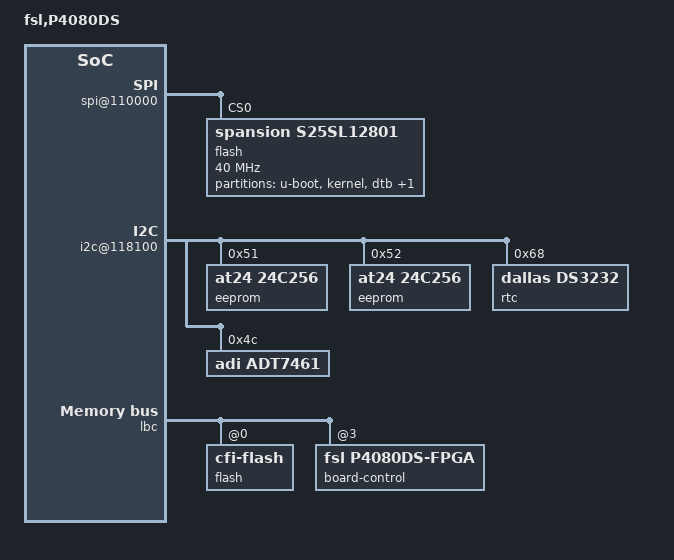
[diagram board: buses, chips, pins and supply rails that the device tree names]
/*
 * P4080DS Device Tree Source
 *
 * Copyright 2009 - 2014 Freescale Semiconductor Inc.
 *
 * Redistribution and use in source and binary forms, with or without
 * modification, are permitted provided that the following conditions are met:
 *     * Redistributions of source code must retain the above copyright
 *       notice, this list of conditions and the following disclaimer.
 *     * Redistributions in binary form must reproduce the above copyright
 *       notice, this list of conditions and the following disclaimer in the
 *       documentation and/or other materials provided with the distribution.
 *     * Neither the name of Freescale Semiconductor nor the
 *       names of its contributors may be used to endorse or promote products
 *       derived from this software without specific prior written permission.
 *
 *
 * ALTERNATIVELY, this software may be distributed under the terms of the
 * GNU General Public License ("GPL") as published by the Free Software
 * Foundation, either version 2 of that License or (at your option) any
 * later version.
 *
 * THIS SOFTWARE IS PROVIDED BY Freescale Semiconductor ``AS IS'' AND ANY
 * EXPRESS OR IMPLIED WARRANTIES, INCLUDING, BUT NOT LIMITED TO, THE IMPLIED
 * WARRANTIES OF MERCHANTABILITY AND FITNESS FOR A PARTICULAR PURPOSE ARE
 * DISCLAIMED. IN NO EVENT SHALL Freescale Semiconductor BE LIABLE FOR ANY
 * DIRECT, INDIRECT, INCIDENTAL, SPECIAL, EXEMPLARY, OR CONSEQUENTIAL DAMAGES
 * (INCLUDING, BUT NOT LIMITED TO, PROCUREMENT OF SUBSTITUTE GOODS OR SERVICES;
 * LOSS OF USE, DATA, OR PROFITS; OR BUSINESS INTERRUPTION) HOWEVER CAUSED AND
 * ON ANY THEORY OF LIABILITY, WHETHER IN CONTRACT, STRICT LIABILITY, OR TORT
 * (INCLUDING NEGLIGENCE OR OTHERWISE) ARISING IN ANY WAY OUT OF THE USE OF THIS
 * SOFTWARE, EVEN IF ADVISED OF THE POSSIBILITY OF SUCH DAMAGE.
 */

/include/ "fsl/p4080si-pre.dtsi"

/ {
	model = "fsl,P4080DS";
	compatible = "fsl,P4080DS";
	#address-cells = <2>;
	#size-cells = <2>;
	interrupt-parent = <&mpic>;

	memory {
		device_type = "memory";
	};

	reserved-memory {
		#address-cells = <2>;
		#size-cells = <2>;
		ranges;

		bman_fbpr: bman-fbpr {
			size = <0 0x1000000>;
			alignment = <0 0x1000000>;
		};
	};

	dcsr: dcsr@f00000000 {
		ranges = <0x00000000 0xf 0x00000000 0x01008000>;
	};

	bportals: bman-portals@ff4000000 {
		ranges = <0x0 0xf 0xf4000000 0x200000>;
	};

	soc: soc@ffe000000 {
		ranges = <0x00000000 0xf 0xfe000000 0x1000000>;
		reg = <0xf 0xfe000000 0 0x00001000>;

		spi@110000 {
			flash@0 {
				#address-cells = <1>;
				#size-cells = <1>;
				compatible = "spansion,s25sl12801";
				reg = <0>;
				spi-max-frequency = <40000000>; /* input clock */
				partition@u-boot {
					label = "u-boot";
					reg = <0x00000000 0x00100000>;
					read-only;
				};
				partition@kernel {
					label = "kernel";
					reg = <0x00100000 0x00500000>;
					read-only;
				};
				partition@dtb {
					label = "dtb";
					reg = <0x00600000 0x00100000>;
					read-only;
				};
				partition@fs {
					label = "file system";
					reg = <0x00700000 0x00900000>;
				};
			};
		};

		i2c@118100 {
			eeprom@51 {
				compatible = "at24,24c256";
				reg = <0x51>;
			};
			eeprom@52 {
				compatible = "at24,24c256";
				reg = <0x52>;
			};
			rtc@68 {
				compatible = "dallas,ds3232";
				reg = <0x68>;
				interrupts = <0x1 0x1 0 0>;
			};
			adt7461@4c {
				compatible = "adi,adt7461";
				reg = <0x4c>;
			};
		};

		usb0: usb@210000 {
			phy_type = "ulpi";
		};

		usb1: usb@211000 {
			dr_mode = "host";
			phy_type = "ulpi";
		};
	};

	rio: rapidio@ffe0c0000 {
		reg = <0xf 0xfe0c0000 0 0x11000>;

		port1 {
			ranges = <0 0 0xc 0x20000000 0 0x10000000>;
		};
		port2 {
			ranges = <0 0 0xc 0x30000000 0 0x10000000>;
		};
	};

	lbc: localbus@ffe124000 {
		reg = <0xf 0xfe124000 0 0x1000>;
		ranges = <0 0 0xf 0xe8000000 0x08000000
			  3 0 0xf 0xffdf0000 0x00008000>;

		flash@0,0 {
			compatible = "cfi-flash";
			reg = <0 0 0x08000000>;
			bank-width = <2>;
			device-width = <2>;
		};

		board-control@3,0 {
			compatible = "fsl,p4080ds-fpga", "fsl,fpga-ngpixis";
			reg = <3 0 0x30>;
		};
	};

	pci0: pcie@ffe200000 {
		reg = <0xf 0xfe200000 0 0x1000>;
		ranges = <0x02000000 0 0xe0000000 0xc 0x00000000 0x0 0x20000000
			  0x01000000 0 0x00000000 0xf 0xf8000000 0x0 0x00010000>;
		pcie@0 {
			ranges = <0x02000000 0 0xe0000000
				  0x02000000 0 0xe0000000
				  0 0x20000000

				  0x01000000 0 0x00000000
				  0x01000000 0 0x00000000
				  0 0x00010000>;
		};
	};

	pci1: pcie@ffe201000 {
		reg = <0xf 0xfe201000 0 0x1000>;
		ranges = <0x02000000 0x0 0xe0000000 0xc 0x20000000 0x0 0x20000000
			  0x01000000 0x0 0x00000000 0xf 0xf8010000 0x0 0x00010000>;
		pcie@0 {
			ranges = <0x02000000 0 0xe0000000
				  0x02000000 0 0xe0000000
				  0 0x20000000

				  0x01000000 0 0x00000000
				  0x01000000 0 0x00000000
				  0 0x00010000>;
		};
	};

	pci2: pcie@ffe202000 {
		reg = <0xf 0xfe202000 0 0x1000>;
		ranges = <0x02000000 0 0xe0000000 0xc 0x40000000 0 0x20000000
			  0x01000000 0 0x00000000 0xf 0xf8020000 0 0x00010000>;
		pcie@0 {
			ranges = <0x02000000 0 0xe0000000
				  0x02000000 0 0xe0000000
				  0 0x20000000

				  0x01000000 0 0x00000000
				  0x01000000 0 0x00000000
				  0 0x00010000>;
		};
	};

};

/include/ "fsl/p4080si-post.dtsi"
